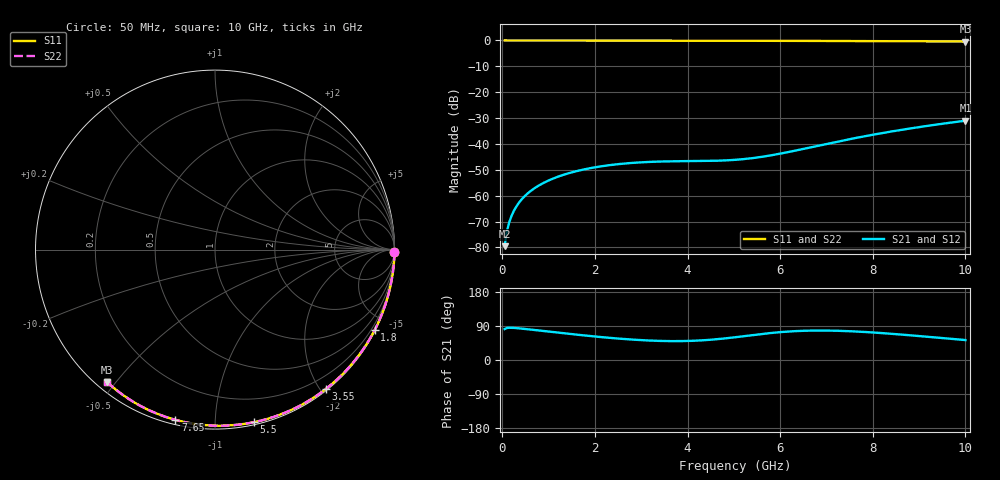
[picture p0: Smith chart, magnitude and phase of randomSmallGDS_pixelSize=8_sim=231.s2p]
! freq	dB(S11)	phase(S11)	dB(S12)	phase(S12)
!  dB(S21)	phase(S21)	dB(S22)	phase(S22)
!S-par simulation data
#  GHz  S  DB  R 50
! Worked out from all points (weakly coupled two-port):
!   200 points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, 50 MHz to 10 GHz, reference 50 ohm
!   highest |S21| = -31.01 dB at 10 GHz (marker M1); lowest = -79.5 dB at 50 MHz (marker M2)
!   lowest |S11| = -0.4 dB at 10 GHz (marker M3), VSWR 40.53, Z = 1.51 - j23.8 ohm
!   |S11| at or under -10 dB: nowhere
!   |S22| runs from -0.4 to 0.0 dB; largest |S21 - S12| = 0
!   S11 on the Smith chart (normalised r, x): 50 MHz: open; 1.8 GHz: 0.04, -4.20; 3.55 GHz: 0.02, -2.07; 5.5 GHz: 0.02, -1.25; 7.65 GHz: 0.02, -0.79; 10 GHz: 0.03, -0.48
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0.05  -0.00 -0.8  -79.53 81.6  -79.53 81.6  -0.00 -0.8
0.1  -0.00 -1.5  -73.74 84.5  -73.74 84.5  -0.00 -1.5
0.15  -0.00 -2.3  -70.27 85.0  -70.27 85.0  -0.00 -2.3
0.2  -0.00 -3.0  -67.80 85.0  -67.80 85.0  -0.00 -3.0
0.25  -0.00 -3.8  -65.87 84.7  -65.87 84.7  -0.00 -3.8
0.35  -0.00 -5.3  -62.98 83.7  -62.98 83.7  -0.00 -5.3
0.5  -0.01 -7.5  -59.92 81.8  -59.92 81.8  -0.01 -7.5
0.7  -0.01 -10.5  -57.07 79.1  -57.07 79.1  -0.01 -10.5
1  -0.02 -15.0  -54.13 75.0  -54.13 75.0  -0.02 -15.0
1.35  -0.03 -20.2  -51.78 70.3  -51.78 70.3  -0.03 -20.2
1.75  -0.03 -26.1  -49.91 65.1  -49.91 65.1  -0.03 -26.1
1.8  -0.03 -26.8  -49.72 64.4  -49.72 64.4  -0.03 -26.8
2.5  -0.05 -36.9  -47.82 56.6  -47.82 56.6  -0.05 -36.9
3.4  -0.07 -49.5  -46.81 50.4  -46.81 50.4  -0.07 -49.5
3.55  -0.07 -51.6  -46.75 50.0  -46.75 50.0  -0.07 -51.6
4.3  -0.09 -61.8  -46.61 51.8  -46.61 51.8  -0.09 -61.8
5.05  -0.11 -71.6  -46.12 60.4  -46.12 60.4  -0.11 -71.6
5.5  -0.12 -77.3  -45.26 67.2  -45.26 67.2  -0.12 -77.3
6.7  -0.18 -92.0  -41.15 77.6  -41.15 77.6  -0.18 -92.0
7.65  -0.23 -103.1  -37.63 75.1  -37.63 75.1  -0.23 -103.1
8.35  -0.28 -111.0  -35.35 69.6  -35.35 69.6  -0.28 -111.0
10  -0.43 -129.1  -31.01 52.6  -31.01 52.6  -0.43 -129.1
